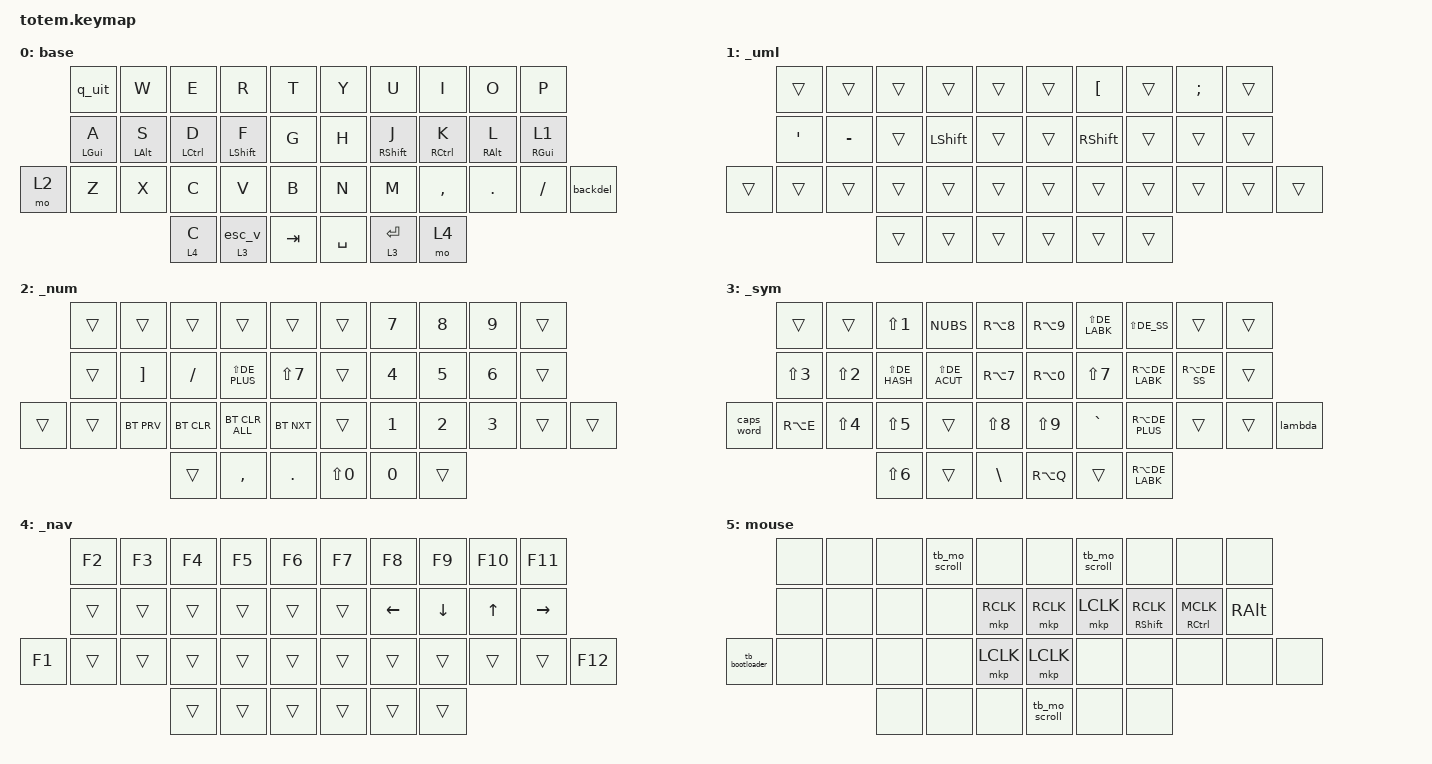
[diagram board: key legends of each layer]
//
//                                                        ▀▀▀▀▀     ▀▀▀▀▀          ▀▀█▀▀
//                                                        ▄▀▀▀▄  ▄  ▄▀▀▀▄  ▄  ▄▀▀▀▄  █  ▄▀▀▀▄
//                                                        █   █  █  █   █  █  █   █  █  █   █
//                                                         ▀▀▀   █   ▀▀▀   █   ▀▀▀   ▀   ▀▀▀
//                                                               █      ▄▄▄█▄▄▄    █   █  
//                                                               ▀      █  █  █     █▄█
//                                                             ▀▀▀▀▀    █  █  █      ▀
//                                                                      ▀  ▀  ▀
//
// ▄▄▄▄▄▄▄▄▄▄▄▄▄▄▄▄▄▄▄▄▄▄▄▄▄▄▄▄▄▄▄▄▄▄▄▄▄▄▄▄▄▄▄▄▄▄▄▄▄▄▄▄▄▄▄▄▄▄▄▄▄▄▄▄▄▄▄▄▄▄▄▄▄▄▄▄▄▄▄▄▄▄▄▄▄▄▄▄▄▄▄▄▄▄▄▄▄▄▄▄▄▄▄▄▄▄▄▄▄▄▄▄▄▄▄▄▄▄▄▄▄▄▄▄▄▄▄▄▄▄▄▄▄▄▄▄▄▄▄▄▄▄▄▄▄▄▄▄▄

#include <behaviors.dtsi>
#include <dt-bindings/zmk/bt.h>
#include <dt-bindings/zmk/keys.h>
#include <dt-bindings/zmk/pointing.h>
#include <interfaces/hid-trackball.dtsi>

// normal characters
#define DE_Z Y
#define DE_Y Z

#define DE_SS MINUS // ß
#define DE_ADIA SQT // ä
#define DE_ODIA SEMI // ö
#define DE_UDIA LBKT // ü

#define DE_CIRC GRAVE // accent circumflex ^ and ring °
#define DE_ACUT EQUAL // accent acute ´ and grave `
#define DE_PLUS RBKT // + and * and ~
#define DE_HASH BSLH // # and '
#define DE_LABK NUBS // < and > and |
#define DE_MINS FSLH // - and _

#define DE_SLSH LS(N7)
#define DE_DEG LS(DE_CIRC) // °
#define DE_EXLM LS(N1) // !
#define DE_DQUO LS(N2) // "
#define DE_SECT LS(N3) // §
#define DE_DLR  LS(N4) // $
#define DE_PERC LS(N5) // %
#define DE_AMPR LS(N6) // &
#define DE_SLSH LS(N7) // /
#define DE_EQL  LS(N0) // =
#define DE_QUES LS(DE_SS) // ?
#define DE_GRV  LS(DE_ACUT) // `
#define DE_ASTR LS(DE_PLUS) // *
#define DE_QUOT LS(DE_HASH) // '
#define DE_RABK LS(DE_LABK) // >
#define DE_COLN LS(DOT) // :
#define DE_SCLN LS(KP_COMMA) // ;
#define DE_UNDS LS(DE_MINS) // _

#define DE_LPRN LS(N8) // (
#define DE_RPRN LS(N9) // )
#define DE_LCBR RA(N7) // {
#define DE_RCBR RA(N0) // }
#define DE_LBRC RA(N8) // [
#define DE_RBRC RA(N9) // ]
#define DE_BSLS RA(DE_SS) // backslash
#define DE_AT  RA(Q) // @
#define DE_EURO RA(E) // €
#define DE_TILD RA(DE_PLUS) // ~
#define DE_PIPE RA(DE_LABK) // |

&mt {
    tapping-term-ms = <230>;
    flavor = "balanced";
};

&sl {
    ignore-modifiers;
};

&caps_word {
    continue-list = <DE_MINS DE_UNDS LSHFT BACKSPACE DELETE>;
};

&hid_trackball_interface {
    automouse-layer = <5>;
    automouse-layer-timeout-ms = <400>;
};

/ {
    macros {
        quit: quit {
        compatible = "zmk,behavior-macro";
            #binding-cells = <0>;
            bindings
                = <&macro_press &kp LALT>
                , <&macro_tap &kp F4>
                , <&macro_release &kp LALT>
                ;
        };

        app_switch: app_switch {
            compatible = "zmk,behavior-macro";
            #binding-cells = <0>;
            bindings
                = <&macro_press &kp LALT>
                , <&macro_tap &kp TAB>
                , <&macro_pause_for_release>
                , <&macro_release &kp LALT>
                ;
        };

        interrupt: interrupt {
            compatible = "zmk,behavior-macro";
            #binding-cells = <0>;
            bindings
                = <&macro_release &kp LALT>
                , <&macro_press &kp LCTRL>
                , <&macro_tap &kp C>
                , <&macro_release &kp LCTRL>
                ;
        };

        lambda: lambda {
            compatible = "zmk,behavior-macro";
            #binding-cells = <0>;
            bindings
                = <&kp DE_EQL &kp DE_RABK>
                ;
        };
    };

    behaviors {
        backdel: backdel {
            compatible = "zmk,behavior-mod-morph";
            label = "BACKDEL";
            bindings = <&kp BACKSPACE>, <&kp DELETE>;

            #binding-cells = <0>;
            mods = <(MOD_RSFT|MOD_LSFT)>;
        };

        rgui_uml: rgui_uml {
            compatible = "zmk,behavior-hold-tap";
            #binding-cells = <2>;
            flavor = "tap-preferred";
            tapping-term-ms = <200>;
            bindings = <&kp>, <&sl>;
            display-name = "Rgui and Umlaute";
        };

        q_uit: q_uit {
            compatible = "zmk,behavior-mod-morph";
            bindings = <&kp Q>, <&quit>;
            
            #binding-cells = <0>;
            mods = <(MOD_LCTL|MOD_RCTL)>;
        };

        esc_v: esc_v {
            compatible = "zmk,behavior-mod-morph";
            bindings = <&kp ESC>, <&kp V>;

            #binding-cells = <0>;
            mods = <(MOD_LCTL|MOD_RCTL)>;
            keep-mods = <(MOD_LCTL|MOD_RCTL)>;
        };

        lt_esc_v: lt_esc_v {
            compatible = "zmk,behavior-hold-tap";
            #binding-cells = <2>;
            flavor = "tap-preferred";
            tapping-term-ms = <200>;
            bindings = <&mo>, <&esc_v>;
        };
        
        lt_kp: copy {
            compatible = "zmk,behavior-hold-tap";
            #binding-cells = <2>;
            flavor = "tap-preferred";
            tapping-term-ms = <200>;
            bindings = <&mo>, <&kp>;
        };

        mt_longer: mt_longer {
            compatible = "zmk,behavior-hold-tap";
            #binding-cells = <2>;
            flavor = "tap-preferred";
            tapping-term-ms = <300>;
            bindings = <&kp>, <&kp>;
            display-name = "Mod-Tap";
        };

        mt_mse: mt_mouse {
            compatible = "zmk,behavior-hold-tap";
            #binding-cells = <2>;
            flavor = "tap-preferred";
            tapping-term-ms = <200>;
            bindings = <&kp>, <&mkp>;
        };
    };

    combos {
        compatible = "zmk,combos";

        combo_tab {
            timeout-ms = <300>;
            key-positions = <12 34>; // lctrl (12) + tab (34)
            bindings = <&app_switch>;
            layers = <0>;
            slow-release;
        };

        combo_caps_word {
            timeout-ms = <100>;
            key-positions = <13 16>; // rshft (13) + lshift (16)
            bindings = <&caps_word>;
            layers = <0>;
        };

        combo_interrupt {
            timeout-ms = <300>;
            key-positions = <11 23>; // lalt + c
            bindings = <&interrupt>;
            layers = <0>;
        };

        activate_mouse {
            bindings = <&tog 5>;
            key-positions = <35 34>;
        };
    };

    keymap {
        compatible = "zmk,keymap";

        // 0
        base {
            bindings = <
       &q_uit             &kp W       &kp E        &kp R          &kp T    &kp DE_Z   &kp U        &kp I        &kp O       &kp P
       &mt_longer LGUI A  &mt LALT S  &mt LCTRL D  &mt LSHFT F    &kp G    &kp H      &mt RSHFT J  &mt RCTRL K  &mt RALT L  &rgui_uml RGUI 1
&mo 2  &kp DE_Y           &kp X       &kp C        &kp V          &kp B    &kp N      &kp M        &kp COMMA    &kp DOT     &kp DE_MINS       &backdel
                                      &lt_kp 4 C   &lt_esc_v 3 0  &kp TAB  &kp SPACE  &lt 3 ENTER  &mo 4
            >;
        };

        // 1
        umlaute {
            bindings = <
        &trans       &trans     &trans  &trans     &trans  &trans  &kp DE_UDIA  &trans  &kp DE_ODIA  &trans
        &kp DE_ADIA  &kp DE_SS  &trans  &kp LSHFT  &trans  &trans  &kp RSHFT    &trans  &trans       &trans
&trans  &trans       &trans     &trans  &trans     &trans  &trans  &trans       &trans  &trans       &trans  &trans
                                &trans  &trans     &trans  &trans  &trans       &trans
            >;

            label = "_uml";
        };

        // 2
        numpad {
            bindings = <
        &trans  &trans       &trans       &trans          &trans       &trans      &kp N7  &kp N8  &kp N9  &trans
        &trans  &kp DE_PLUS  &kp DE_MINS  &kp DE_ASTR     &kp DE_SLSH  &trans      &kp N4  &kp N5  &kp N6  &trans
&trans  &trans  &bt BT_PRV   &bt BT_CLR   &bt BT_CLR_ALL  &bt BT_NXT   &trans      &kp N1  &kp N2  &kp N3  &trans &trans
                             &trans       &kp COMMA       &kp DOT      &kp DE_EQL  &kp N0  &trans
            >;

            label = "_num";
        };

        // 3
        symbols {
            bindings = <
            &trans       &trans       &kp DE_EXLM  &kp DE_LABK  &kp DE_LBRC  &kp DE_RBRC  &kp DE_RABK  &kp DE_QUES  &trans       &trans
            &kp DE_SECT  &kp DE_DQUO  &kp DE_QUOT  &kp DE_GRV   &kp DE_LCBR  &kp DE_RCBR  &kp DE_SLSH  &kp DE_PIPE  &kp DE_BSLS  &trans
&caps_word  &kp DE_EURO  &kp DE_DLR   &kp DE_PERC  &trans       &kp DE_LPRN  &kp DE_RPRN  &kp DE_CIRC  &kp DE_TILD  &trans       &trans  &lambda
                                      &kp DE_AMPR  &trans       &kp DE_HASH  &kp DE_AT    &trans       &kp DE_PIPE
            >;

            label = "_sym";
        };

        // 4
        fn_n_arrows {
            bindings = <
        &kp F2  &kp F3  &kp F4  &kp F5  &kp F6  &kp F7  &kp F8    &kp F9    &kp F10  &kp F11
        &trans  &trans  &trans  &trans  &trans  &trans  &kp LEFT  &kp DOWN  &kp UP   &kp RIGHT   
&kp F1  &trans  &trans  &trans  &trans  &trans  &trans  &trans    &trans    &trans   &trans     &kp F12
                        &trans  &trans  &trans  &trans  &trans    &trans
            >;

            label = "_nav";
        };

        // 5
        mouse {
            bindings = <
                &none  &none  &none  &tb_mo_scroll  &none      &none          &tb_mo_scroll  &none               &none               &none
                &none  &none  &none  &none          &mkp RCLK  &mkp RCLK      &mkp LCLK      &mt_mse RSHFT RCLK  &mt_mse RCTRL MCLK  &kp RALT
&tb_bootloader  &none  &none  &none  &none          &mkp LCLK  &mkp LCLK      &none          &none               &none               &none  &none
                              &none  &none          &none      &tb_mo_scroll  &none          &none
            >;
        };
    };
};
